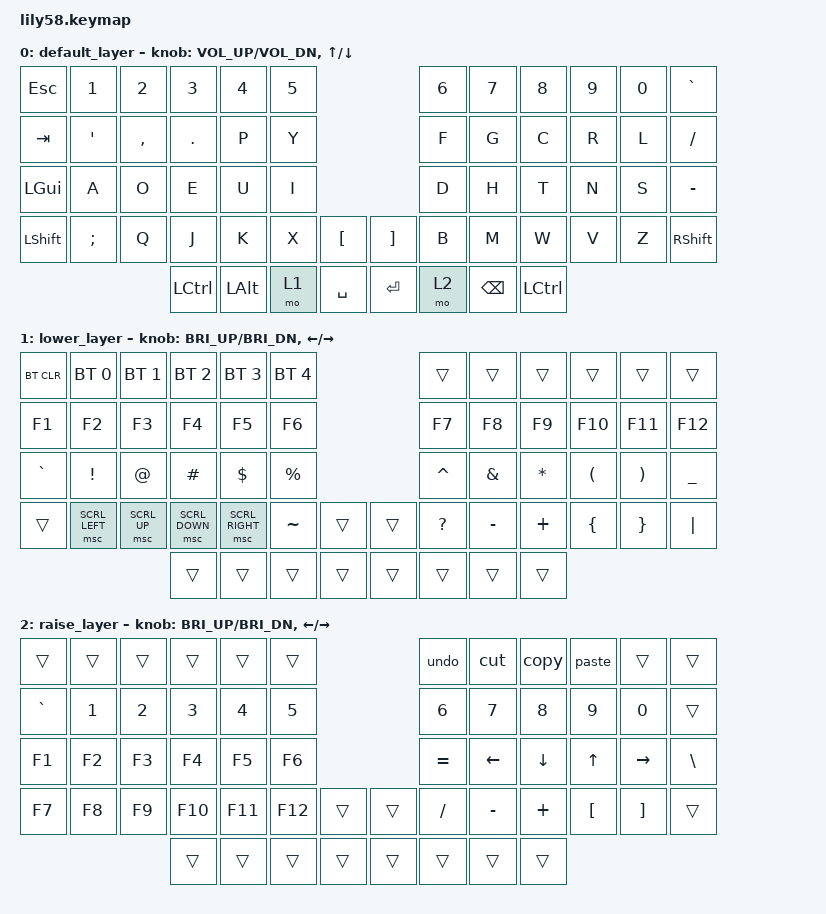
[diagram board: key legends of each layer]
/*
 * Copyright (c) 2020 The ZMK Contributors
 *
 * SPDX-License-Identifier: MIT
 */

#define MAC 0  // Слой для macOS
#define LINUX 3  // Слой для Linux

// для скролинга мыши -> https://zmk.dev/docs/keymaps/behaviors/mouse-emulation
// #define ZMK_POINTING_DEFAULT_MOVE_VAL 1500  // default: 600
#define ZMK_POINTING_DEFAULT_SCRL_VAL 10    // default: 10

#include <dt-bindings/zmk/pointing.h>
// #include <dt-bindings/zmk/mouse.h>
#include <input/processors.dtsi>

// --------------------------

#include <behaviors.dtsi>
#include <dt-bindings/zmk/keys.h>
#include <dt-bindings/zmk/bt.h>
#include <dt-bindings/zmk/ext_power.h>

&msc {
    x-input-code = <INPUT_REL_HWHEEL>;
    y-input-code = <INPUT_REL_WHEEL>;
    time-to-max-speed-ms = <0>;
    acceleration-exponent = <1>;
};

/ {
    macros {
        undo: undo {
            compatible = "zmk,behavior-macro";
            #binding-cells = <0>;
            bindings = <&macro_press &kp LGUI>, <&macro_tap &kp Z>, <&macro_release &kp LGUI>; // Отменить (Cmd+Z на Mac)
        };

        cut: cut {
            compatible = "zmk,behavior-macro";
            #binding-cells = <0>;
            bindings = <&macro_press &kp LGUI>, <&macro_tap &kp X>, <&macro_release &kp LGUI>; // Вырезать (Cmd+X на Mac)
        };

        copy: copy {
            compatible = "zmk,behavior-macro";
            #binding-cells = <0>;
            bindings = <&macro_press &kp LGUI>, <&macro_tap &kp C>, <&macro_release &kp LGUI>; // Копировать (Cmd+C на Mac)
        };

        paste: paste {
            compatible = "zmk,behavior-macro";
            #binding-cells = <0>;
            bindings = <&macro_press &kp LGUI>, <&macro_tap &kp V>, <&macro_release &kp LGUI>; // Вставить (Cmd+V на Mac)
        };
    };

    keymap {
        compatible = "zmk,keymap";

        default_layer {
// ------------------------------------------------------------------------------------------------------------
// |  ESC  |  1  |  2  |  3   |  4   |  5   |                   |  6   |  7    |  8    |  9   |   0   |   `   |
// |  TAB  |  '  |  ,  |  .   |  P   |  Y   |                   |  F   |  G    |  C    |  R   |   L   |   /   |
// |  WIN  |  A  |  O  |  E   |  U   |  I   |                   |  D   |  H    |  T    |  N   |   S   |   -   |
// | SHIFT |  ;  |  Q  |  J   |  K   |  X   |   "["  |  |  "]"  |  B   |  M    |  W    |  V   |   Z   | SHIFT |
//                     | CTRL  | ALT  | LOWER|  SPACE |  | ENTER | RAISE| BSPC  | CTRL  |
        bindings = <
&kp ESC   &kp N1   &kp N2    &kp N3   &kp N4    &kp N5                         &kp N6  &kp N7   &kp N8    &kp N9  &kp N0  &kp GRAVE
&kp TAB   &kp SQT  &kp COMMA &kp DOT  &kp P     &kp Y                          &kp F   &kp G    &kp C     &kp R   &kp L   &kp FSLH
&kp LGUI  &kp A    &kp O     &kp E    &kp U     &kp I                          &kp D   &kp H    &kp T     &kp N   &kp S   &kp MINUS
&kp LSHFT &kp SEMI &kp Q     &kp J    &kp K     &kp X   &kp LBKT     &kp RBKT  &kp B   &kp M    &kp W     &kp V   &kp Z   &kp RSHFT
                             &kp LCTRL &kp LALT &mo 1   &kp SPACE    &kp RET   &mo 2   &kp BSPC &kp LCTRL
        >;
/*
// ------------------------------------------------------------------------------------------------------------
// |  ESC  |  1  |  2  |  3   |  4   |  5   |                   |  6   |  7    |  8    |  9   |   0   |   `   |
// |  TAB  |  '  |  ,  |  .   |  P   |  Y   |                   |  F   |  G    |  C    |  R   |   L   |   /   |
// |  CTRL |  A  |  O  |  E   |  U   |  I   |                   |  D   |  H    |  T    |  N   |   S   |   -   |
// | SHIFT |  ;  |  Q  |  J   |  K   |  X   |   "["  |  |  "]"  |  B   |  M    |  W    |  V   |   Z   | SHIFT |
//                     | ALT  | GUI  | LOWER|  SPACE |  | ENTER | RAISE| BSPC  | GUI   |
            bindings = <
&kp ESC   &kp N1   &kp N2    &kp N3   &kp N4   &kp N5                      &kp N6  &kp N7   &kp N8    &kp N9  &kp N0  &kp GRAVE
&kp TAB   &kp SQT  &kp COMMA &kp DOT  &kp P    &kp Y                       &kp F   &kp G    &kp C     &kp R   &kp L   &kp FSLH
&kp LCTRL &kp A    &kp O     &kp E    &kp U    &kp I                       &kp D   &kp H    &kp T     &kp N   &kp S   &kp MINUS
&kp LSHFT &kp SEMI &kp Q     &kp J    &kp K    &kp X  &kp LBKT   &kp RBKT  &kp B   &kp M    &kp W     &kp V   &kp Z   &kp RSHFT
                             &kp LALT &kp LGUI &mo 1  &kp SPACE  &kp RET   &mo 2   &kp BSPC &kp RGUI
            >;
*/

            sensor-bindings = <&inc_dec_kp C_VOL_UP C_VOL_DN  &inc_dec_kp UP DOWN>;
        };

        lower_layer {
// ------------------------------------------------------------------------------------------------------------
// | BTCLR | BT1 | BT2 |  BT3 |  BT4 |  BT5 |                   |      |       |       |      |       |       |
// |  F1   |  F2 |  F3 |  F4  |  F5  |  F6  |                   |  F7  |  F8   |  F9   |  F10 |  F11  |  F12  |
// |   `   |  !  |  @  |  #   |  $   |  %   |                   |  ^   |  &    |  *    |  (   |   )   |   _   |
// |  scUp | scDW|     |      |      |  ~   |        |  |       |  ?   |  _    |  +    |  {   |   }   |  "|"  |
//                     |      |      |      |        |  |       |      |       |       |
// &ext_power EP_ON &ext_power EP_OFF &ext_power EP_TOG
            bindings = <
&bt BT_CLR &bt BT_SEL 0     &bt BT_SEL 1      &bt BT_SEL 2      &bt BT_SEL 3    &bt BT_SEL 4                     &trans    &trans    &trans    &trans    &trans    &trans
&kp F1     &kp F2           &kp F3            &kp F4            &kp F5          &kp F6                           &kp F7    &kp F8    &kp F9    &kp F10   &kp F11   &kp F12
&kp GRAVE  &kp EXCL         &kp AT            &kp HASH          &kp DOLLAR      &kp PRCNT                        &kp CARET &kp AMPS  &kp ASTRK &kp LPAR  &kp RPAR  &kp UNDER
&trans     &msc SCRL_LEFT   &msc SCRL_UP      &msc SCRL_DOWN    &msc SCRL_RIGHT &kp TILDE     &trans   &trans    &kp QMARK &kp MINUS &kp PLUS  &kp LBRC  &kp RBRC  &kp PIPE
                                              &trans            &trans          &trans        &trans   &trans    &trans    &trans    &trans
            >;
            sensor-bindings = <&inc_dec_kp C_BRI_UP C_BRI_DN  &inc_dec_kp LEFT RIGHT>;
        };

        raise_layer {
// ------------------------------------------------------------------------------------------------------------
// |        |     |     |      |      |      |                   |comm+z|comm+x |comm+c |comm+v|       |       |
// |   `    |  1  |  2  |  3   |  4   |  5   |                   |  6   |   7   |   8   |  9   |   0   |       |
// |   F1   |  F2 |  F3 |  F4  |  F5  |  F6  |                   |  =   |   <-  |   v   |  ^   |  ->   |   \   |
// |   F7   |  F8 |  F9 |  F10 |  F11 |  F12 |        |  |       |  /   |   -   |   +   |  [   |   ]   |       |
//                      |      |      |      |        |  |       |      |       |       |
            bindings = <
    &trans     &trans  &trans &trans  &trans  &trans                       &undo       &cut       &copy       &paste     &trans    &trans
    &kp GRAVE  &kp N1  &kp N2 &kp N3  &kp N4  &kp N5                       &kp N6      &kp N7     &kp N8      &kp N9     &kp N0    &trans
    &kp F1     &kp F2  &kp F3 &kp F4  &kp F5  &kp F6                       &kp EQUAL   &kp LEFT   &kp DOWN    &kp UP     &kp RIGHT &kp BSLH
    &kp F7     &kp F8  &kp F9 &kp F10 &kp F11 &kp F12   &trans   &trans    &kp SLASH   &kp MINUS  &kp PLUS    &kp LBKT   &kp RBKT  &trans
                              &trans  &trans  &trans    &trans   &trans    &trans      &trans     &trans
            >;

            sensor-bindings = <&inc_dec_kp C_BRI_UP C_BRI_DN  &inc_dec_kp LEFT RIGHT>;

        };
    };

/*
    * Настройка энкодеров на правой и левой половинах, если создать .dtsi в папке то он игнорится
    * Распиновка по Pro-Micro и настройка encoder
    * https://zmk.dev/docs/development/new-shield#shield-overlays
    * Тут можно посмотреть распиновку клавиш
    * https://docs.typeractive.xyz/build-guides/lily58-wireless/troubleshooting
    * Пины которые не используются 
    * D4, F4 и F5 не используются, D3 Занят Oled display (PIN SCL), a D2(PIN SDA)
    * D3 D4 = 3 4, F4 F5 = 20 21
    * Pin D1 and D0 вроде тоже свободны
*/
    left_encoder: encoder_left {
        compatible = "alps,ec11";
        a-gpios = <&pro_micro 21 (GPIO_ACTIVE_HIGH | GPIO_PULL_UP)>;
        b-gpios = <&pro_micro 20 (GPIO_ACTIVE_HIGH | GPIO_PULL_UP)>;
        steps = <80>;
    };

    right_encoder: encoder_right {
        compatible = "alps,ec11";
        a-gpios = <&pro_micro 1 (GPIO_ACTIVE_HIGH | GPIO_PULL_UP)>;
        b-gpios = <&pro_micro 4 (GPIO_ACTIVE_HIGH | GPIO_PULL_UP)>;
        steps = <80>;
    };


    sensors: sensors {
        compatible = "zmk,keymap-sensors";
        sensors = <
            &left_encoder
            &right_encoder
        >;
        triggers-per-rotation = <20>;


        left_config {
            triggers-per-rotation = <20>;
        };

        right_config {
            triggers-per-rotation = <20>;
        };


    };


    // -------------------------------------

};
